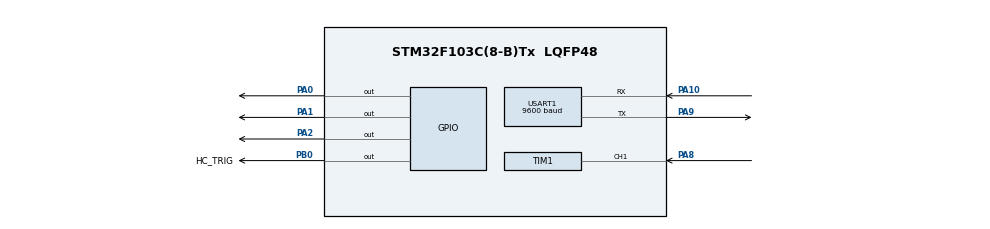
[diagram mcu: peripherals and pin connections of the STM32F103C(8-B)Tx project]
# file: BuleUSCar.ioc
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Mcu.Family=STM32F1
Mcu.Name=STM32F103C(8-B)Tx
Mcu.Package=LQFP48
NVIC.PriorityGroup=NVIC_PRIORITYGROUP_4
NVIC.TIM1_CC_IRQn=true\:0\:0\:false\:false\:true\:true\:true\:true
NVIC.TIM3_IRQn=true\:0\:0\:false\:false\:true\:true\:true\:true
NVIC.USART1_IRQn=true\:0\:0\:false\:false\:true\:true\:true\:true
PA0-WKUP.Signal=GPIO_Output
PA1.Signal=GPIO_Output
PA10.Mode=Asynchronous
PA10.Signal=USART1_RX
PA13.Mode=Serial_Wire
PA13.Signal=SYS_JTMS-SWDIO
PA14.Mode=Serial_Wire
PA14.Signal=SYS_JTCK-SWCLK
PA2.Signal=GPIO_Output
PA8.Signal=S_TIM1_CH1
PA9.Mode=Asynchronous
PA9.Signal=USART1_TX
PB0.GPIO_Label=HC_TRIG
PB0.Signal=GPIO_Output
PD0-OSC_IN.Mode=HSE-External-Oscillator
PD0-OSC_IN.Signal=RCC_OSC_IN
PD1-OSC_OUT.Mode=HSE-External-Oscillator
PD1-OSC_OUT.Signal=RCC_OSC_OUT
ProjectManager.HeapSize=0x200
ProjectManager.StackSize=0x400
ProjectManager.TargetToolchain=MDK-ARM V5.32
RCC.APB1Freq_Value=8000000
RCC.APB2Freq_Value=8000000
SH.S_TIM1_CH1.0=TIM1_CH1,Input_Capture1_from_TI1
TIM1.Channel-Input_Capture1_from_TI1=TIM_CHANNEL_1
TIM1.Prescaler=71
TIM3.Prescaler=71
USART1.BaudRate=9600
USART1.VirtualMode=VM_ASYNC
VP_TIM1_VS_ClockSourceINT.Mode=Internal
VP_TIM3_VS_ClockSourceINT.Mode=Internal
board=custom

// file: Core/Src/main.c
/* USER CODE BEGIN Header */
/**
  ******************************************************************************
  * @file           : main.c
  * @brief          : Main program body
  ******************************************************************************
  * @attention
  *
  * Copyright (c) 2026 STMicroelectronics.
  * All rights reserved.
  *
  * This software is licensed under terms that can be found in the LICENSE file
  * in the root directory of this software component.
  * If no LICENSE file comes with this software, it is provided AS-IS.
  *
  ******************************************************************************
  */
/* USER CODE END Header */
#include "main.h"

/* USER CODE BEGIN Includes */
#include <stdio.h>
#include <string.h>
/* USER CODE END Includes */

TIM_HandleTypeDef htim1;
TIM_HandleTypeDef htim3;

UART_HandleTypeDef huart1;

/* USER CODE BEGIN PV */
volatile uint32_t ic_val1 = 0, ic_val2 = 0;
volatile uint8_t capture_rising = 1;
volatile uint8_t capture_done = 0;
uint8_t rx_cmd = 0;
uint8_t cmd_received = 0;
/* USER CODE END PV */

void SystemClock_Config(void);
static void MX_GPIO_Init(void);
static void MX_TIM3_Init(void);
static void MX_USART1_UART_Init(void);
static void MX_TIM1_Init(void);
/* USER CODE BEGIN PFP */
void Motor_Left(int dir);          // 1: forward, -1: backward, 0: stop
void Motor_Right_Forward(void);    // only forward
void Motor_Stop(void);
float Get_Distance(void);
void HC_SR04_Trigger(void);
/* USER CODE END PFP */

/* USER CODE BEGIN 0 */
void Motor_Left(int dir) {
    if (dir == 1) {
        HAL_GPIO_WritePin(GPIOA, GPIO_PIN_0, GPIO_PIN_SET);
        HAL_GPIO_WritePin(GPIOA, GPIO_PIN_1, GPIO_PIN_RESET);
    } else if (dir == -1) {
        HAL_GPIO_WritePin(GPIOA, GPIO_PIN_0, GPIO_PIN_RESET);
        HAL_GPIO_WritePin(GPIOA, GPIO_PIN_1, GPIO_PIN_SET);
    } else {
        HAL_GPIO_WritePin(GPIOA, GPIO_PIN_0 | GPIO_PIN_1, GPIO_PIN_RESET);
    }
}

void Motor_Right_Forward(void) {
    HAL_GPIO_WritePin(GPIOA, GPIO_PIN_2, GPIO_PIN_SET);
}

void Motor_Stop(void) {
    HAL_GPIO_WritePin(GPIOA, GPIO_PIN_0 | GPIO_PIN_1 | GPIO_PIN_2, GPIO_PIN_RESET);
}

void HC_SR04_Trigger(void) {
    HAL_GPIO_WritePin(HC_TRIG_GPIO_Port, HC_TRIG_Pin, GPIO_PIN_SET);
    HAL_Delay(10); // >=10us
    HAL_GPIO_WritePin(HC_TRIG_GPIO_Port, HC_TRIG_Pin, GPIO_PIN_RESET);
}

// 超声波测距（单位：cm）
float Get_Distance(void) {
    capture_done = 0;
    capture_rising = 1;
    __HAL_TIM_SET_COUNTER(&htim1, 0);
    __HAL_TIM_SET_CAPTUREPOLARITY(&htim1, TIM_CHANNEL_1, TIM_INPUTCHANNELPOLARITY_RISING);
    HAL_TIM_IC_Start_IT(&htim1, TIM_CHANNEL_1);
    HC_SR04_Trigger();

    uint32_t timeout = 10000; // 10ms timeout
    while (!capture_done && timeout--) {
        HAL_Delay(1);
    }
    HAL_TIM_IC_Stop_IT(&htim1, TIM_CHANNEL_1);

    if (timeout == 0) return 999.0f;

    uint32_t high_time = ic_val2 - ic_val1;
    return (float)high_time / 58.0f;
}

// 蓝牙接收回调
void HAL_UART_RxCpltCallback(UART_HandleTypeDef *huart) {
    if (huart->Instance == USART1) {
        rx_cmd = huart->pRxBuffPtr[0]; // 实际使用单字节
        cmd_received = 1;
        HAL_UART_Receive_IT(&huart1, &rx_cmd, 1);
    }
}

// TIM1 输入捕获回调
void HAL_TIM_IC_CaptureCallback(TIM_HandleTypeDef *htim) {
    if (htim->Instance == TIM1 && htim->Channel == HAL_TIM_ACTIVE_CHANNEL_1) {
        if (capture_rising) {
            ic_val1 = HAL_TIM_ReadCapturedValue(htim, TIM_CHANNEL_1);
            __HAL_TIM_SET_CAPTUREPOLARITY(htim, TIM_CHANNEL_1, TIM_INPUTCHANNELPOLARITY_FALLING);
            capture_rising = 0;
        } else {
            ic_val2 = HAL_TIM_ReadCapturedValue(htim, TIM_CHANNEL_1);
            capture_done = 1;
            capture_rising = 1;
        }
    }
}
/* USER CODE END 0 */

int main(void)
{

  /* MCU Configuration--------------------------------------------------------*/

  /* Reset of all peripherals, Initializes the Flash interface and the Systick. */
  HAL_Init();

  /* Configure the system clock */
  SystemClock_Config();

  /* Initialize all configured peripherals */
  HAL_Init();

  SystemClock_Config();
  MX_GPIO_Init();
  MX_TIM3_Init();
  MX_USART1_UART_Init();
  MX_TIM1_Init();
  /* USER CODE BEGIN 2 */
HAL_UART_Receive_IT(&huart1, &rx_cmd, 1); // 启动蓝牙接收

  Motor_Stop(); // 初始停止
  /* USER CODE END 2 */

  /* Infinite loop */
  while (1)
  {

    /* USER CODE BEGIN 3 */
	  static uint32_t last_measure = 0;
    float dist = 999.0f;

    // 每 100ms 测一次距离
    if (HAL_GetTick() - last_measure > 100) {
        last_measure = HAL_GetTick();
        dist = Get_Distance();
    }

    // 避障：前方 <20cm 强制停车
    if (dist < 20.0f) {
        Motor_Stop();
        cmd_received = 0; // 忽略蓝牙指令
    }

    // 处理蓝牙指令（仅在无障碍时响应）
    if (cmd_received && dist >= 20.0f) {
        cmd_received = 0;
        switch(rx_cmd) {
            case 'F': // 前进
                Motor_Left(1);
                Motor_Right_Forward();
                break;
            case 'L': // 左转（右轮转，左轮停）
                Motor_Left(0);
                Motor_Right_Forward();
                break;
            case 'R': // 右转（左轮反，右轮正）
                Motor_Left(-1);
                Motor_Right_Forward();
                break;
            case 'S': // 停止
                Motor_Stop();
                break;
            default:
                break;
        }
    }

    HAL_Delay(10);
  }
  /* USER CODE END 3 */
}

void SystemClock_Config(void)
{
  RCC_OscInitTypeDef RCC_OscInitStruct = {0};
  RCC_ClkInitTypeDef RCC_ClkInitStruct = {0};

  /** Initializes the RCC Oscillators according to the specified parameters
  * in the RCC_OscInitTypeDef structure.
  */
  RCC_OscInitStruct.OscillatorType = RCC_OSCILLATORTYPE_HSI;
  RCC_OscInitStruct.HSIState = RCC_HSI_ON;
  RCC_OscInitStruct.HSICalibrationValue = RCC_HSICALIBRATION_DEFAULT;
  RCC_OscInitStruct.PLL.PLLState = RCC_PLL_NONE;
  if (HAL_RCC_OscConfig(&RCC_OscInitStruct) != HAL_OK)
  {
    Error_Handler();
  }

  /** Initializes the CPU, AHB and APB buses clocks
  */
  RCC_ClkInitStruct.ClockType = RCC_CLOCKTYPE_HCLK|RCC_CLOCKTYPE_SYSCLK
                              |RCC_CLOCKTYPE_PCLK1|RCC_CLOCKTYPE_PCLK2;
  RCC_ClkInitStruct.SYSCLKSource = RCC_SYSCLKSOURCE_HSI;
  RCC_ClkInitStruct.AHBCLKDivider = RCC_SYSCLK_DIV1;
  RCC_ClkInitStruct.APB1CLKDivider = RCC_HCLK_DIV1;
  RCC_ClkInitStruct.APB2CLKDivider = RCC_HCLK_DIV1;

  if (HAL_RCC_ClockConfig(&RCC_ClkInitStruct, FLASH_LATENCY_0) != HAL_OK)
  {
    Error_Handler();
  }
}

static void MX_TIM1_Init(void)
{

  TIM_ClockConfigTypeDef sClockSourceConfig = {0};
  TIM_MasterConfigTypeDef sMasterConfig = {0};
  TIM_IC_InitTypeDef sConfigIC = {0};

  htim1.Instance = TIM1;
  htim1.Init.Prescaler = 71;
  htim1.Init.CounterMode = TIM_COUNTERMODE_UP;
  htim1.Init.Period = 65535;
  htim1.Init.ClockDivision = TIM_CLOCKDIVISION_DIV1;
  htim1.Init.RepetitionCounter = 0;
  htim1.Init.AutoReloadPreload = TIM_AUTORELOAD_PRELOAD_DISABLE;
  if (HAL_TIM_Base_Init(&htim1) != HAL_OK)
  {
    Error_Handler();
  }
  sClockSourceConfig.ClockSource = TIM_CLOCKSOURCE_INTERNAL;
  if (HAL_TIM_ConfigClockSource(&htim1, &sClockSourceConfig) != HAL_OK)
  {
    Error_Handler();
  }
  if (HAL_TIM_IC_Init(&htim1) != HAL_OK)
  {
    Error_Handler();
  }
  sMasterConfig.MasterOutputTrigger = TIM_TRGO_RESET;
  sMasterConfig.MasterSlaveMode = TIM_MASTERSLAVEMODE_DISABLE;
  if (HAL_TIMEx_MasterConfigSynchronization(&htim1, &sMasterConfig) != HAL_OK)
  {
    Error_Handler();
  }
  sConfigIC.ICPolarity = TIM_INPUTCHANNELPOLARITY_RISING;
  sConfigIC.ICSelection = TIM_ICSELECTION_DIRECTTI;
  sConfigIC.ICPrescaler = TIM_ICPSC_DIV1;
  sConfigIC.ICFilter = 0;
  if (HAL_TIM_IC_ConfigChannel(&htim1, &sConfigIC, TIM_CHANNEL_1) != HAL_OK)
  {
    Error_Handler();
  }

}

static void MX_TIM3_Init(void)
{

  TIM_ClockConfigTypeDef sClockSourceConfig = {0};
  TIM_MasterConfigTypeDef sMasterConfig = {0};

  htim3.Instance = TIM3;
  htim3.Init.Prescaler = 71;
  htim3.Init.CounterMode = TIM_COUNTERMODE_UP;
  htim3.Init.Period = 65535;
  htim3.Init.ClockDivision = TIM_CLOCKDIVISION_DIV1;
  htim3.Init.AutoReloadPreload = TIM_AUTORELOAD_PRELOAD_DISABLE;
  if (HAL_TIM_Base_Init(&htim3) != HAL_OK)
  {
    Error_Handler();
  }
  sClockSourceConfig.ClockSource = TIM_CLOCKSOURCE_INTERNAL;
  if (HAL_TIM_ConfigClockSource(&htim3, &sClockSourceConfig) != HAL_OK)
  {
    Error_Handler();
  }
  sMasterConfig.MasterOutputTrigger = TIM_TRGO_RESET;
  sMasterConfig.MasterSlaveMode = TIM_MASTERSLAVEMODE_DISABLE;
  if (HAL_TIMEx_MasterConfigSynchronization(&htim3, &sMasterConfig) != HAL_OK)
  {
    Error_Handler();
  }

}

static void MX_USART1_UART_Init(void)
{

  huart1.Instance = USART1;
  huart1.Init.BaudRate = 9600;
  huart1.Init.WordLength = UART_WORDLENGTH_8B;
  huart1.Init.StopBits = UART_STOPBITS_1;
  huart1.Init.Parity = UART_PARITY_NONE;
  huart1.Init.Mode = UART_MODE_TX_RX;
  huart1.Init.HwFlowCtl = UART_HWCONTROL_NONE;
  huart1.Init.OverSampling = UART_OVERSAMPLING_16;
  if (HAL_UART_Init(&huart1) != HAL_OK)
  {
    Error_Handler();
  }

}

static void MX_GPIO_Init(void)
{
  GPIO_InitTypeDef GPIO_InitStruct = {0};

  /* GPIO Ports Clock Enable */
  __HAL_RCC_GPIOD_CLK_ENABLE();
  __HAL_RCC_GPIOA_CLK_ENABLE();
  __HAL_RCC_GPIOB_CLK_ENABLE();

  /*Configure GPIO pin Output Level */
  HAL_GPIO_WritePin(GPIOA, GPIO_PIN_0|GPIO_PIN_1|GPIO_PIN_2, GPIO_PIN_RESET);

  /*Configure GPIO pin Output Level */
  HAL_GPIO_WritePin(HC_TRIG_GPIO_Port, HC_TRIG_Pin, GPIO_PIN_RESET);

  /*Configure GPIO pins : PA0 PA1 PA2 */
  GPIO_InitStruct.Pin = GPIO_PIN_0|GPIO_PIN_1|GPIO_PIN_2;
  GPIO_InitStruct.Mode = GPIO_MODE_OUTPUT_PP;
  GPIO_InitStruct.Pull = GPIO_NOPULL;
  GPIO_InitStruct.Speed = GPIO_SPEED_FREQ_LOW;
  HAL_GPIO_Init(GPIOA, &GPIO_InitStruct);

  /*Configure GPIO pin : HC_TRIG_Pin */
  GPIO_InitStruct.Pin = HC_TRIG_Pin;
  GPIO_InitStruct.Mode = GPIO_MODE_OUTPUT_PP;
  GPIO_InitStruct.Pull = GPIO_NOPULL;
  GPIO_InitStruct.Speed = GPIO_SPEED_FREQ_LOW;
  HAL_GPIO_Init(HC_TRIG_GPIO_Port, &GPIO_InitStruct);

}

void Error_Handler(void)
{
  __disable_irq();
  while (1)
  {
  }
}
